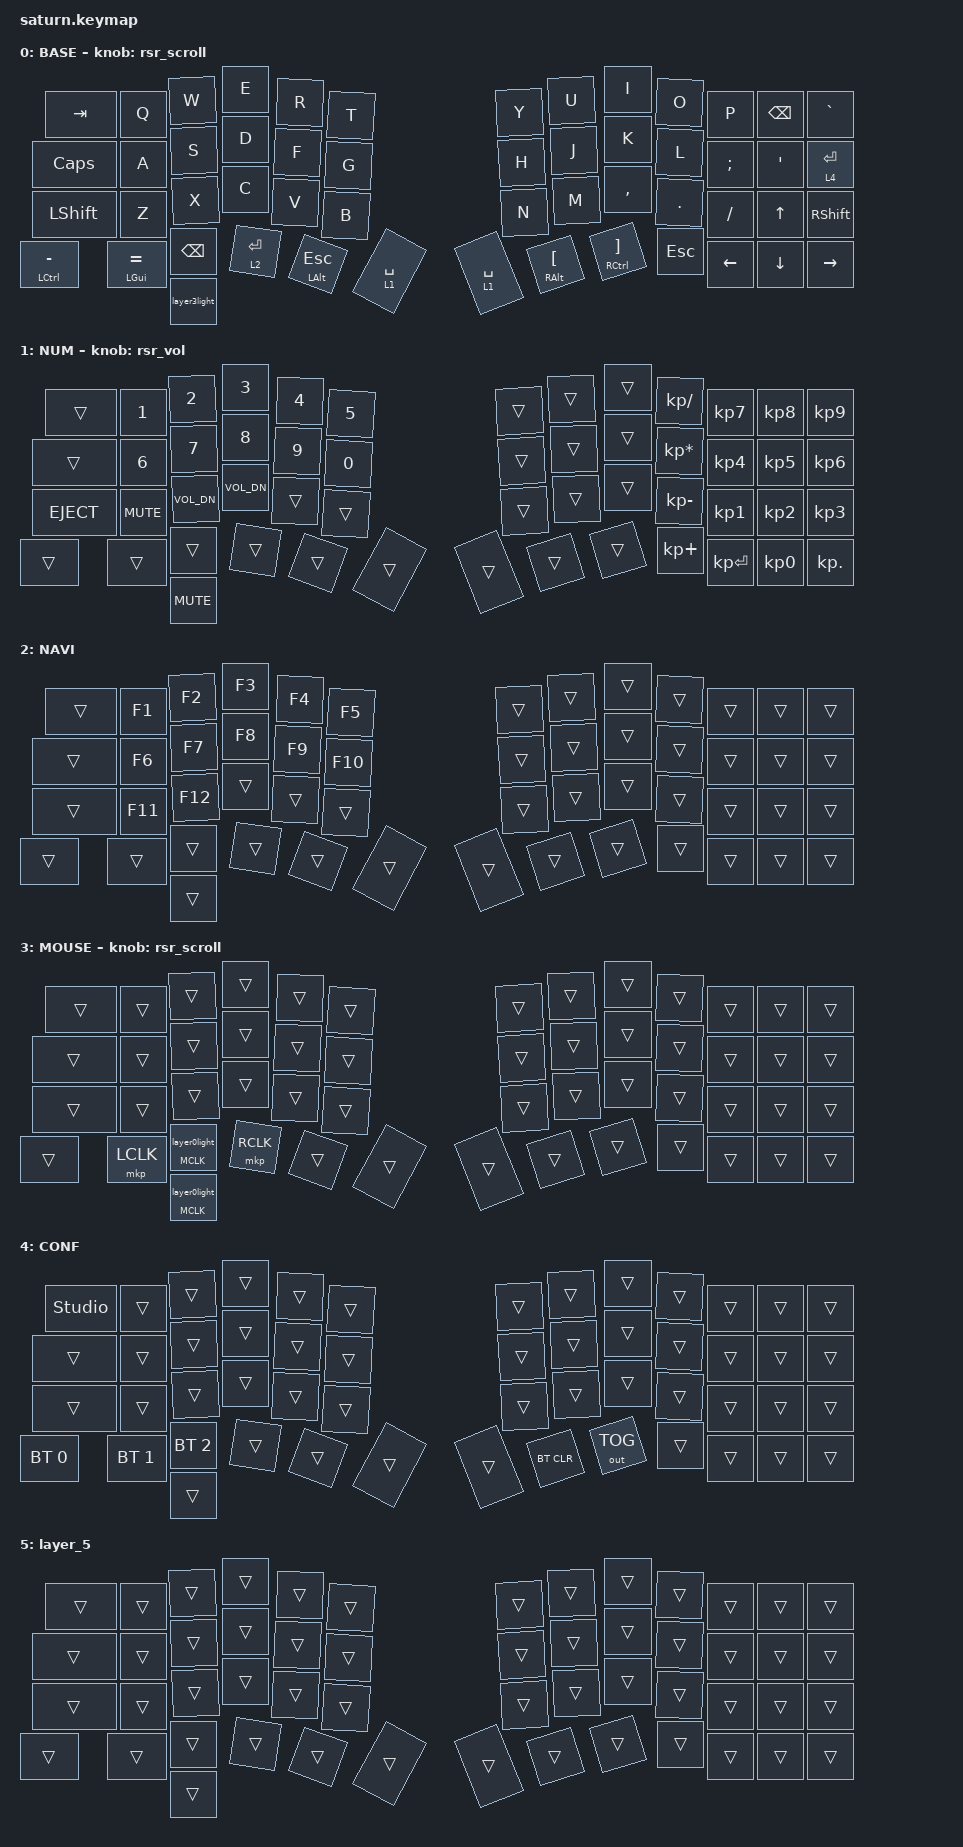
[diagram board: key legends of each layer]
#define ZMK_POINTING_DEFAULT_MOVE_VAL 1200 // trackball movement speed
#define ZMK_POINTING_DEFAULT_SCRL_VAL 60   // scroll speed

#include <behaviors.dtsi>
#include <behaviors/runtime-sensor-rotate.dtsi>
#include <dt-bindings/zmk/bt.h>
#include <dt-bindings/zmk/keys.h>
#include <dt-bindings/zmk/outputs.h>
#include <dt-bindings/zmk/pointing.h>
#include <dt-bindings/zmk/rgb.h>

&msc {
    acceleration-exponent = <0>;      // immediate encoder/scroll response
    time-to-max-speed-ms = <0>;       // no acceleration ramp
    delay-ms = <0>;
};

&mmv {
    time-to-max-speed-ms = <500>;
    acceleration-exponent = <1>;
    trigger-period-ms = <16>;
};

/ {
    macros {
        layer3light: layerlight {
            compatible = "zmk,behavior-macro";
            #binding-cells = <0>;
            bindings = <&to 3 &rgb_ug RGB_ON &rgb_ug RGB_COLOR_HSB(239,100,50)>;
            label = "LAYERLIGHT";
        };

        layer0light: layer0light {
            compatible = "zmk,behavior-macro";
            #binding-cells = <0>;
            bindings = <&to 0 &rgb_ug RGB_OFF>;
            label = "LAYER0LIGHT";
        };
    };

    behaviors {
        // Runtime sensor rotate behaviors: the encoder binding can be tuned
        // at runtime from DYA Studio.
        rsr_scroll: rsr_scroll {
            compatible = "zmk,behavior-runtime-sensor-rotate";
            label = "RSR_SCROLL";
            #sensor-binding-cells = <0>;
            tap-ms = <100>;
            cw-binding = <&msc SCRL_DOWN>;
            ccw-binding = <&msc SCRL_UP>;
        };

        rsr_vol: rsr_vol {
            compatible = "zmk,behavior-runtime-sensor-rotate";
            label = "RSR_VOL";
            #sensor-binding-cells = <0>;
            tap-ms = <100>;
            cw-binding = <&kp C_VOL_UP>;
            ccw-binding = <&kp C_VOL_DN>;
        };

        mid_click: mid_click {
            compatible = "zmk,behavior-hold-tap";
            label = "MID_CLICK";
            bindings = <&mkp>, <&layer0light>;

            #binding-cells = <2>;
            tapping-term-ms = <300>;
        };
    };

    keymap {
        compatible = "zmk,keymap";

        default_layer {
            display-name = "BASE";
            bindings = <
&kp TAB          &kp Q           &kp W          &kp E         &kp R         &kp T          &kp Y        &kp U          &kp I           &kp O    &kp P     &kp BSPC  &kp GRAVE
&kp CAPS         &kp A           &kp S          &kp D         &kp F         &kp G          &kp H        &kp J          &kp K           &kp L    &kp SEMI  &kp APOS  &lt 4 ENTER
&kp LSHFT        &kp Z           &kp X          &kp C         &kp V         &kp B          &kp N        &kp M          &kp COMMA       &kp DOT  &kp FSLH  &kp UP    &kp RSHFT
&mt LCTRL MINUS  &mt LGUI EQUAL  &kp BACKSPACE  &lt 2 ENTER   &mt LALT ESC  &lt 1 SPACE    &lt 1 SPACE  &mt RALT LBKT  &mt RCTRL RBKT  &kp ESC  &kp LEFT  &kp DOWN  &kp RIGHT
                                                &layer3light
            >;

            sensor-bindings = <&rsr_scroll>;
        };

        layer_1 {
            bindings = <
&trans       &kp N1      &kp N2        &kp N3        &kp N4  &kp N5    &trans  &trans  &trans  &kp KP_DIVIDE    &kp KP_N7     &kp KP_N8  &kp KP_N9
&trans       &kp N6      &kp N7        &kp N8        &kp N9  &kp N0    &trans  &trans  &trans  &kp KP_MULTIPLY  &kp KP_N4     &kp KP_N5  &kp KP_N6
&kp C_EJECT  &kp C_MUTE  &kp C_VOL_DN  &kp C_VOL_DN  &trans  &trans    &trans  &trans  &trans  &kp KP_MINUS     &kp KP_N1     &kp KP_N2  &kp KP_N3
&trans       &trans      &trans        &trans        &trans  &trans    &trans  &trans  &trans  &kp KP_PLUS      &kp KP_ENTER  &kp KP_N0  &kp KP_DOT
                                       &kp C_MUTE
            >;

            label = "NUM";
            sensor-bindings = <&rsr_vol>;
        };

        layer_2 {
            bindings = <
&trans  &kp F1   &kp F2   &kp F3  &kp F4  &kp F5     &trans  &trans  &trans  &trans  &trans  &trans  &trans
&trans  &kp F6   &kp F7   &kp F8  &kp F9  &kp F10    &trans  &trans  &trans  &trans  &trans  &trans  &trans
&trans  &kp F11  &kp F12  &trans  &trans  &trans     &trans  &trans  &trans  &trans  &trans  &trans  &trans
&trans  &trans   &trans   &trans  &trans  &trans     &trans  &trans  &trans  &trans  &trans  &trans  &trans
                          &trans
            >;

            label = "NAVI";
        };

        layer_3 {
            bindings = <
&trans  &trans     &trans             &trans             &trans  &trans    &trans  &trans  &trans  &trans  &trans  &trans  &trans
&trans  &trans     &trans             &trans             &trans  &trans    &trans  &trans  &trans  &trans  &trans  &trans  &trans
&trans  &trans     &trans             &trans             &trans  &trans    &trans  &trans  &trans  &trans  &trans  &trans  &trans
&trans  &mkp LCLK  &mid_click MCLK 0  &mkp RCLK          &trans  &trans    &trans  &trans  &trans  &trans  &trans  &trans  &trans
                                      &mid_click MCLK 0
            >;

            sensor-bindings = <&rsr_scroll>;
            label = "MOUSE";
        };

        layer_4 {
            bindings = <
&studio_unlock  &trans        &trans        &trans  &trans  &trans    &trans  &trans      &trans        &trans  &trans  &trans  &trans
&trans          &trans        &trans        &trans  &trans  &trans    &trans  &trans      &trans        &trans  &trans  &trans  &trans
&trans          &trans        &trans        &trans  &trans  &trans    &trans  &trans      &trans        &trans  &trans  &trans  &trans
&bt BT_SEL 0    &bt BT_SEL 1  &bt BT_SEL 2  &trans  &trans  &trans    &trans  &bt BT_CLR  &out OUT_TOG  &trans  &trans  &trans  &trans
                                            &trans
            >;

            label = "CONF";
        };

        layer_5 {
            bindings = <
&trans  &trans  &trans  &trans  &trans  &trans    &trans  &trans  &trans  &trans  &trans  &trans  &trans
&trans  &trans  &trans  &trans  &trans  &trans    &trans  &trans  &trans  &trans  &trans  &trans  &trans
&trans  &trans  &trans  &trans  &trans  &trans    &trans  &trans  &trans  &trans  &trans  &trans  &trans
&trans  &trans  &trans  &trans  &trans  &trans    &trans  &trans  &trans  &trans  &trans  &trans  &trans
                        &trans
            >;
        };
    };
};
